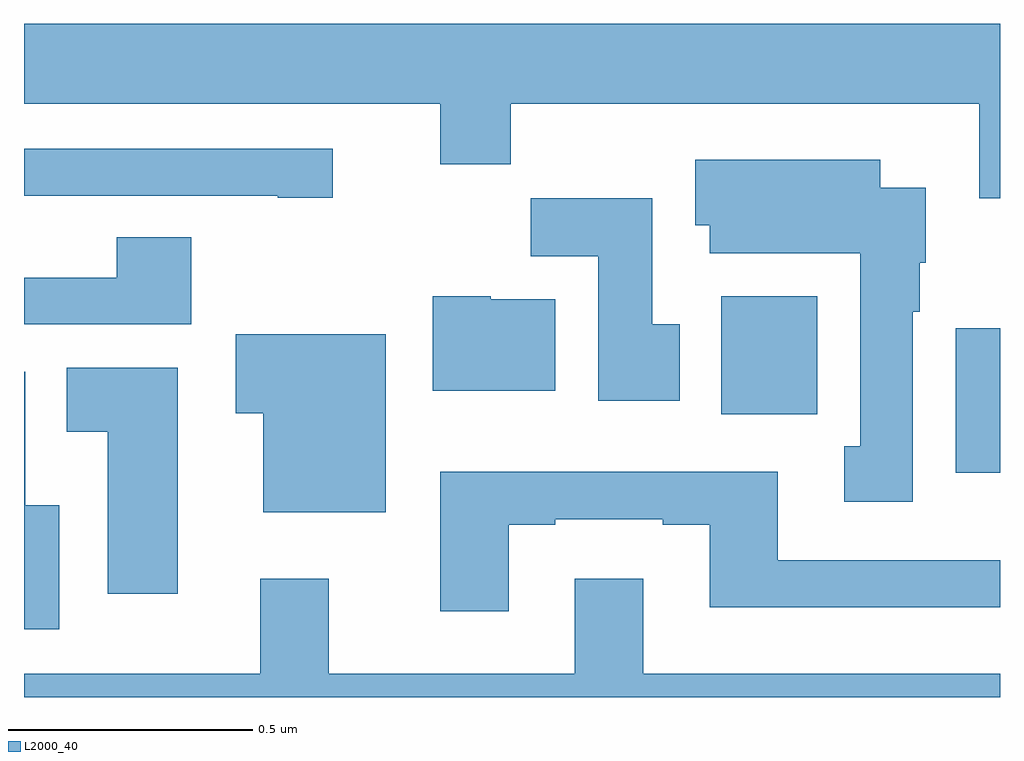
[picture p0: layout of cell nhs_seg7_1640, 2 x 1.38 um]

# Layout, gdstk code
import gdstk
lib = gdstk.Library(unit=1e-6, precision=1e-09)
def R(c, l, rs):  # rectangles x0, y0, x1, y1
    for r in rs: c.add(gdstk.rectangle(r[:2], r[2:], *l))
def P(c, l, *ps):  # polygons
    for p in ps: c.add(gdstk.Polygon(p, *l))
L2000_40 = (2000, 40)

nhs_seg7_1640 = lib.new_cell('nhs_seg7_1640')
R(nhs_seg7_1640, L2000_40, [(134.909,1066.46,135,1066.756), (134.429,1066.58,134.626,1066.822)])
P(nhs_seg7_1640, L2000_40, [(135,1067.38),(133,1067.38),(133,1067.216),(133.853,1067.216),(133.853,1067.092),(133.997,1067.092),(133.997,1067.216),(134.957,1067.216),(134.957,1067.022),(135,1067.022)],
  [(133.633,1067.124),(133,1067.124),(133,1067.028),(133.52,1067.028),(133.52,1067.023),(133.633,1067.023)],
  [(134.821,1066.79),(134.836,1066.79),(134.836,1066.89),(134.848,1066.89),(134.848,1067.044),(134.755,1067.044),(134.755,1067.101),(134.375,1067.101),(134.375,1066.967),(134.405,1066.967),(134.405,1066.91),(134.714,1066.91),(134.714,1066.514),(134.681,1066.514),(134.681,1066.401),(134.821,1066.401)],
  [(134.344,1066.764),(134.287,1066.764),(134.287,1067.022),(134.038,1067.022),(134.038,1066.904),(134.177,1066.904),(134.177,1066.608),(134.344,1066.608)],
  [(133.343,1066.943),(133.19,1066.943),(133.19,1066.86),(133,1066.86),(133,1066.764),(133.343,1066.764)],
  [(134.089,1066.816),(133.956,1066.816),(133.956,1066.822),(133.838,1066.822),(133.838,1066.628),(134.089,1066.628)],
  [(133.741,1066.744),(133.434,1066.744),(133.434,1066.582),(133.49,1066.582),(133.49,1066.379),(133.741,1066.379)],
  [(133.315,1066.675),(133.088,1066.675),(133.088,1066.544),(133.172,1066.544),(133.172,1066.212),(133.315,1066.212)],
  [(133.072,1066.393),(133.003,1066.393),(133.003,1066.667),(133,1066.667),(133,1066.139),(133.072,1066.139)],
  [(133.993,1066.353),(134.089,1066.353),(134.089,1066.365),(134.309,1066.365),(134.309,1066.353),(134.405,1066.353),(134.405,1066.184),(135,1066.184),(135,1066.281),(134.545,1066.281),(134.545,1066.462),(133.853,1066.462),(133.853,1066.176),(133.993,1066.176)],
  [(135,1066.048),(134.269,1066.048),(134.269,1066.243),(134.129,1066.243),(134.129,1066.048),(133.624,1066.048),(133.624,1066.243),(133.484,1066.243),(133.484,1066.048),(133,1066.048),(133,1066),(135,1066)])

lib.write_gds('nhs_seg7_1640.gds')
